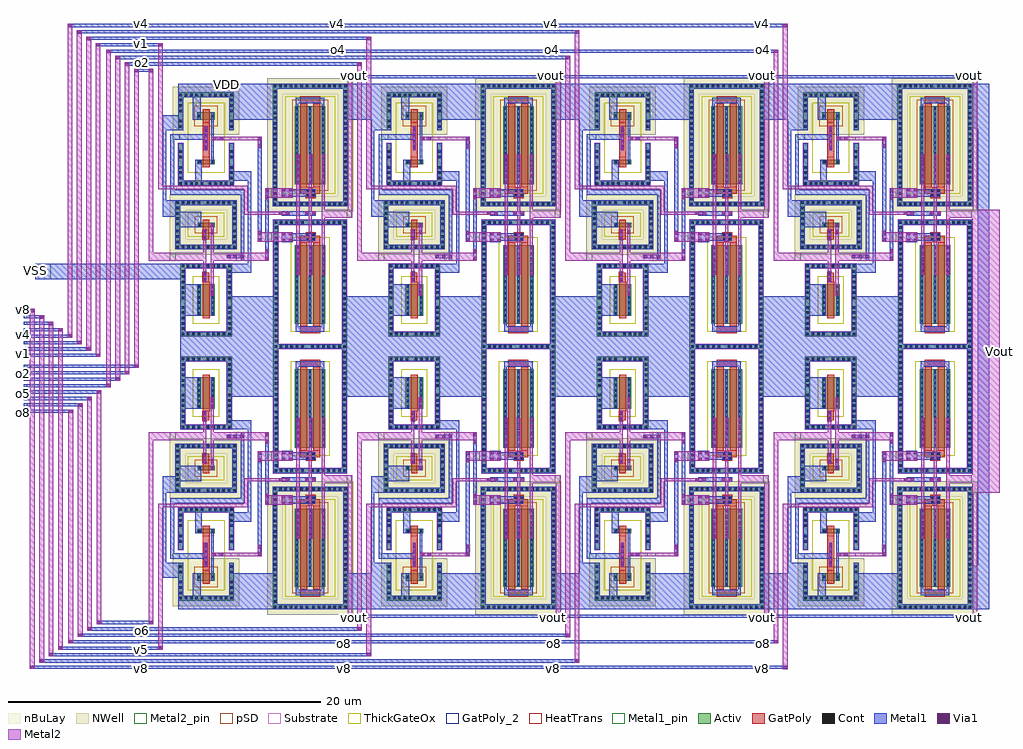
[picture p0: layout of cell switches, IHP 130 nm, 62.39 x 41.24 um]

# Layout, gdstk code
from math import pi, radians
import gdstk
lib = gdstk.Library(unit=1e-6, precision=1e-09)
def R(c, l, rs):  # rectangles x0, y0, x1, y1
    for r in rs: c.add(gdstk.rectangle(r[:2], r[2:], *l))
def A(c, l, x, y, w, h, nx, ny, dx, dy):  # array of equal rectangles
    R(c, l, [(x+i*dx, y+j*dy, x+i*dx+w, y+j*dy+h) for i in range(nx) for j in range(ny)])
def P(c, l, *ps):  # polygons
    for p in ps: c.add(gdstk.Polygon(p, *l))
Activ = (1, 0)
GatPoly = (5, 0)
GatPoly_2 = (5, 2)
Cont = (6, 0)
Metal1 = (8, 0)
Metal1_pin = (8, 2)
Metal2 = (10, 0)
Metal2_pin = (10, 2)
pSD = (14, 0)
Via1 = (19, 0)
NWell = (31, 0)
nBuLay = (32, 0)
Substrate = (40, 0)
ThickGateOx = (44, 0)
HeatTrans = (51, 0)

pmoshv_4 = lib.new_cell('pmosHV$4')
R(pmoshv_4, Activ, [(-1.42,-1.12,-1.12,1.42), (2.2,-1.12,2.5,1.42), (0,0,0.3,0.3), (0,0,1.08,0.3), (0.78,0,1.08,0.3), (-1.42,1.42,2.5,1.72)])
P(pmoshv_4, Activ, [(-1.42,-1.42),(-1.42,1.42),(-1.12,1.42),(-1.12,-1.12),(2.2,-1.12),(2.2,1.42),(-1.42,1.42),(-1.42,1.72),(2.5,1.72),(2.5,-1.42)])
R(pmoshv_4, GatPoly, [(0.34,-0.18,0.74,0.48)])
R(pmoshv_4, GatPoly_2, [(0.34,-0.18,0.74,0.48)])
A(pmoshv_4, Cont, -1.35, -1.35, 0.16, 0.16, 5, 2, 0.34, 2.84)
A(pmoshv_4, Cont, 0.57, -1.35, 0.16, 0.16, 6, 2, 0.34, 2.84)
A(pmoshv_4, Cont, -1.35, -1.01, 0.16, 0.16, 1, 3, 0, 0.34)
A(pmoshv_4, Cont, 2.27, -1.01, 0.16, 0.16, 1, 3, 0, 0.34)
A(pmoshv_4, Cont, -1.35, 0.13, 0.16, 0.16, 1, 4, 0, 0.34)
A(pmoshv_4, Cont, 2.27, 0.13, 0.16, 0.16, 1, 4, 0, 0.34)
R(pmoshv_4, Cont, [(0.07,0.07,0.23,0.23), (0.85,0.07,1.01,0.23)])
R(pmoshv_4, Metal1, [(-1.42,-1.42,2.5,-1.12), (-1.42,-1.12,-1.12,1.42), (2.2,-1.12,2.5,1.42), (0.07,0,0.23,0.3), (0.85,0,1.01,0.3), (-1.42,1.42,2.5,1.72)])
R(pmoshv_4, Metal1_pin, [(0.07,0,0.23,0.3), (0.85,0,1.01,0.3)])
R(pmoshv_4, pSD, [(-0.18,-0.4,1.26,0.7)])
R(pmoshv_4, NWell, [(-1.77,-1.77,2.85,2.07), (-0.62,-0.62,1.7,0.92)])
R(pmoshv_4, nBuLay, [(-1.77,-0.77,-0.77,1.07), (1.85,-0.77,2.85,1.07), (-1.77,1.07,2.85,2.07)])
P(pmoshv_4, nBuLay, [(-1.77,-1.77),(-1.77,1.07),(-0.77,1.07),(-0.77,-0.77),(1.85,-0.77),(1.85,1.07),(-1.77,1.07),(-1.77,2.07),(2.85,2.07),(2.85,-1.77)])
R(pmoshv_4, Substrate, [(0.78,0,1.08,0.3)])
R(pmoshv_4, ThickGateOx, [(-0.62,-0.62,1.7,0.92)])
R(pmoshv_4, HeatTrans, [(0.34,-0.18,0.74,0.48)])
pmoshv_4.add(gdstk.Label('pmosHV', (0.54,0.15), layer=63, texttype=0))
pmoshv_4.add(gdstk.Label('well', (0.54,-1.27), layer=63, texttype=0))
pmoshv_4.add(gdstk.Label('pmos', (0.54,0.15), layer=51, texttype=0))

nmoshv_3 = lib.new_cell('nmosHV$3')
R(nmoshv_3, Activ, [(-1.07,-1.02,-0.77,3.02), (1.9,-1.02,2.2,3.02), (0,0,0.3,0.3), (0,0,1.13,2), (0.83,0,1.13,0.3), (-1.07,3.02,2.2,3.32)])
P(nmoshv_3, Activ, [(-1.07,-1.32),(-1.07,3.02),(-0.77,3.02),(-0.77,-1.02),(1.9,-1.02),(1.9,3.02),(-1.07,3.02),(-1.07,3.32),(2.2,3.32),(2.2,-1.32)])
R(nmoshv_3, GatPoly, [(0.34,-0.18,0.79,2.18)])
R(nmoshv_3, GatPoly_2, [(0.34,-0.18,0.79,2.18)])
A(nmoshv_3, Cont, -1, -1.25, 0.16, 0.16, 4, 2, 0.34, 4.34)
A(nmoshv_3, Cont, 0.61, -1.25, 0.16, 0.16, 5, 2, 0.34, 4.34)
A(nmoshv_3, Cont, -1, -0.91, 0.16, 0.16, 1, 5, 0, 0.34)
A(nmoshv_3, Cont, 1.97, -0.91, 0.16, 0.16, 1, 5, 0, 0.34)
A(nmoshv_3, Cont, 0.07, 0.07, 0.16, 0.16, 1, 6, 0, 0.34)
A(nmoshv_3, Cont, 0.9, 0.07, 0.16, 0.16, 1, 6, 0, 0.34)
A(nmoshv_3, Cont, -1, 1.05, 0.16, 0.16, 1, 6, 0, 0.34)
A(nmoshv_3, Cont, 1.97, 1.05, 0.16, 0.16, 1, 6, 0, 0.34)
R(nmoshv_3, Metal1, [(-1.07,-1.32,2.2,-1.02), (-1.07,-1.02,-0.77,3.02), (1.9,-1.02,2.2,3.02), (0.07,0,0.23,2), (0.9,0,1.06,2), (-1.07,3.02,2.2,3.32)])
R(nmoshv_3, Metal1_pin, [(0.07,0,0.23,2), (0.9,0,1.06,2)])
R(nmoshv_3, pSD, [(-1.1,-0.99,-0.74,2.99), (1.87,-0.99,2.23,2.99), (-1.1,2.99,2.23,3.35)])
P(nmoshv_3, pSD, [(-1.1,-1.35),(-1.1,2.99),(-0.74,2.99),(-0.74,-0.99),(1.87,-0.99),(1.87,2.99),(-1.1,2.99),(-1.1,3.35),(2.23,3.35),(2.23,-1.35)])
R(nmoshv_3, Substrate, [(-1.1,-0.99,-0.74,2.99), (1.87,-0.99,2.23,2.99), (-1.1,2.99,2.23,3.35)])
P(nmoshv_3, Substrate, [(-1.1,-1.35),(-1.1,2.99),(-0.74,2.99),(-0.74,-0.99),(1.87,-0.99),(1.87,2.99),(-1.1,2.99),(-1.1,3.35),(2.23,3.35),(2.23,-1.35)])
R(nmoshv_3, ThickGateOx, [(-0.27,-0.52,1.4,2.52)])
R(nmoshv_3, HeatTrans, [(0.34,-0.18,0.79,2.18)])
nmoshv_3.add(gdstk.Label('nmosHV', (0.565,1), layer=63, texttype=0))
nmoshv_3.add(gdstk.Label('sub!', (0.565,-1.17), layer=63, texttype=0))
nmoshv_3.add(gdstk.Label('nmosHV', (0.565,1), layer=51, texttype=0))

via_stack_6 = lib.new_cell('via_stack$6')
R(via_stack_6, GatPoly, [(-0.15,-0.32,0.15,0.32)])
R(via_stack_6, Cont, [(-0.08,-0.25,0.08,-0.09), (-0.08,0.09,0.08,0.25)])
R(via_stack_6, Metal1, [(-0.105,-0.35,0.105,0.35)])
R(via_stack_6, Metal2, [(-0.1,-0.35,0.1,0.35)])
R(via_stack_6, Via1, [(-0.095,-0.3,0.095,-0.11), (-0.095,0.11,0.095,0.3)])

via_stack_7 = lib.new_cell('via_stack$7')
R(via_stack_7, Metal1, [(-0.105,-0.35,0.105,0.35)])
R(via_stack_7, Metal2, [(-0.1,-0.35,0.1,0.35)])
R(via_stack_7, Via1, [(-0.095,-0.3,0.095,-0.11), (-0.095,0.11,0.095,0.3)])

inverter_shifter = lib.new_cell('inverter_shifter')
R(inverter_shifter, GatPoly, [(-0.21,-1.855,0.19,-1.185), (-0.21,0.945,0.19,1.615)])
R(inverter_shifter, Metal1, [(-1.645,-3.935,-0.345,-1.935), (-1.97,1.715,-0.32,2.695)])
R(inverter_shifter, Metal1_pin, [(-0.49,-5.255,0.495,-4.955), (-0.4,3.135,0.78,3.435)])
R(inverter_shifter, Metal2, [(0.285,-2.345,0.485,1.415), (-0.2,-1.545,0,1.27), (-2.32,-0.415,0,0.095), (0.285,-0.415,2.3,0.095)])
R(inverter_shifter, Metal2_pin, [(-2.32,-0.415,-1.935,0.095), (1.91,-0.415,2.3,0.095)])
inverter_shifter.add(gdstk.Reference(pmoshv_4, (-0.55,1.715)))
inverter_shifter.add(gdstk.Reference(nmoshv_3, (-0.575,-3.935)))
inverter_shifter.add(gdstk.Reference(via_stack_6, (-0.1,1.225)))
inverter_shifter.add(gdstk.Reference(via_stack_7, (0.385,1.62)))
inverter_shifter.add(gdstk.Reference(via_stack_6, (-0.1,-1.465)))
inverter_shifter.add(gdstk.Reference(via_stack_7, (0.385,-2.31)))
inverter_shifter.add(gdstk.Label('VSS', (0.003,-5.255), layer=8, texttype=2))
inverter_shifter.add(gdstk.Label('VDD', (0.19,3.435), layer=8, texttype=2))
inverter_shifter.add(gdstk.Label('en', (-2.32,-0.16), layer=10, texttype=2))
inverter_shifter.add(gdstk.Label('en_n', (2.3,-0.16), layer=10, texttype=2))

via_stack_4 = lib.new_cell('via_stack$4')
R(via_stack_4, Metal1, [(-0.555,-0.105,0.555,0.105)])
R(via_stack_4, Metal2, [(-0.555,-0.1,0.555,0.1)])
A(via_stack_4, Via1, -0.505, -0.095, 0.19, 0.19, 3, 1, 0.41, 0)

pmoshv_2 = lib.new_cell('pmosHV$2')
R(pmoshv_2, Activ, [(0,0,0.3,0.3), (0,0,1.13,0.48), (0.83,0,1.13,0.3)])
R(pmoshv_2, GatPoly, [(0.34,-0.18,0.79,0.66)])
R(pmoshv_2, GatPoly_2, [(0.34,-0.18,0.79,0.66)])
R(pmoshv_2, Cont, [(0.07,0.16,0.23,0.32), (0.9,0.16,1.06,0.32)])
R(pmoshv_2, Metal1, [(0.07,0,0.23,0.48), (0.9,0,1.06,0.48)])
R(pmoshv_2, Metal1_pin, [(0.07,0,0.23,0.48), (0.9,0,1.06,0.48)])
R(pmoshv_2, pSD, [(-0.18,-0.4,1.31,0.88)])
R(pmoshv_2, NWell, [(-0.62,-0.62,1.75,1.1)])
R(pmoshv_2, Substrate, [(0.83,0,1.13,0.3)])
R(pmoshv_2, ThickGateOx, [(-0.62,-0.62,1.75,1.1)])
R(pmoshv_2, HeatTrans, [(0.34,-0.18,0.79,0.66)])
pmoshv_2.add(gdstk.Label('pmosHV', (0.565,0.24), layer=63, texttype=0))
pmoshv_2.add(gdstk.Label('pmos', (0.565,0.24), layer=51, texttype=0))

nmoshv_2 = lib.new_cell('nmosHV$2')
R(nmoshv_2, Activ, [(0,0,0.3,0.3), (0,0,1.13,0.3), (0.83,0,1.13,0.3)])
R(nmoshv_2, GatPoly, [(0.34,-0.18,0.79,0.48)])
R(nmoshv_2, GatPoly_2, [(0.34,-0.18,0.79,0.48)])
R(nmoshv_2, Cont, [(0.07,0.07,0.23,0.23), (0.9,0.07,1.06,0.23)])
R(nmoshv_2, Metal1, [(0.07,0,0.23,0.3), (0.9,0,1.06,0.3)])
R(nmoshv_2, Metal1_pin, [(0.07,0,0.23,0.3), (0.9,0,1.06,0.3)])
R(nmoshv_2, ThickGateOx, [(-0.27,-0.52,1.4,0.82)])
R(nmoshv_2, HeatTrans, [(0.34,-0.18,0.79,0.48)])
nmoshv_2.add(gdstk.Label('nmosHV', (0.565,0.15), layer=63, texttype=0))
nmoshv_2.add(gdstk.Label('nmosHV', (0.565,0.15), layer=51, texttype=0))

via_stack_9 = lib.new_cell('via_stack$9')
R(via_stack_9, GatPoly, [(-0.15,-0.66,0.15,0.66)])
A(via_stack_9, Cont, -0.08, -0.59, 0.16, 0.16, 1, 4, 0, 0.34)
R(via_stack_9, Metal1, [(-0.105,-0.76,0.105,0.76)])
R(via_stack_9, Metal2, [(-0.1,-0.76,0.1,0.76)])
A(via_stack_9, Via1, -0.095, -0.71, 0.19, 0.19, 1, 4, 0, 0.41)

via_stack_2 = lib.new_cell('via_stack$2')
R(via_stack_2, Metal1, [(-0.35,-0.105,0.35,0.105)])
R(via_stack_2, Metal2, [(-0.35,-0.1,0.35,0.1)])
R(via_stack_2, Via1, [(-0.3,-0.095,-0.11,0.095), (0.11,-0.095,0.3,0.095)])

inverter = lib.new_cell('inverter')
R(inverter, Activ, [(-0.29,0.38,3.25,0.68), (-0.29,0.68,0.01,3.08), (2.95,0.68,3.25,3.08), (-0.29,3.905,0.01,6.035), (2.95,3.905,3.25,6.035), (-0.29,6.035,3.25,6.335)])
R(inverter, GatPoly, [(1.26,2.215,1.71,4.41)])
A(inverter, Cont, -0.22, 0.45, 0.16, 0.16, 5, 2, 0.34, 5.655)
A(inverter, Cont, 1.66, 0.45, 0.16, 0.16, 5, 2, 0.34, 5.655)
A(inverter, Cont, -0.22, 0.79, 0.16, 0.16, 1, 3, 0, 0.34)
A(inverter, Cont, 3.02, 0.79, 0.16, 0.16, 1, 3, 0, 0.34)
A(inverter, Cont, -0.22, 5.085, 0.16, 0.16, 1, 3, 0, 0.34)
A(inverter, Cont, 3.02, 5.085, 0.16, 0.16, 1, 3, 0, 0.34)
R(inverter, Cont, [(-0.22,2.13,-0.06,2.29), (3.02,2.13,3.18,2.29), (-0.22,2.47,-0.06,2.63), (3.02,2.47,3.18,2.63), (-0.22,4.085,-0.06,4.245), (3.02,4.085,3.18,4.245), (-0.22,4.425,-0.06,4.585), (3.02,4.425,3.18,4.585)])
R(inverter, Metal1, [(-0.29,0.38,3.25,0.68), (0.79,0.45,1.22,2.035), (-0.29,0.68,0.01,3.08), (2.95,0.68,3.25,3.08), (1.82,1.735,1.98,5.07), (-0.64,3.325,1.555,3.66), (-0.29,3.905,0.01,6.035), (2.95,3.905,3.25,6.035), (0.635,4.59,1.15,6.185), (-0.29,6.035,3.25,6.335)])
R(inverter, Metal1_pin, [(0.75,0.38,2.275,0.68), (-0.64,3.325,-0.19,3.66), (0.675,6.035,2.125,6.335)])
R(inverter, Metal2, [(1.82,3.275,3.6,3.495)])
R(inverter, Metal2_pin, [(3.045,3.275,3.6,3.495)])
R(inverter, pSD, [(-0.32,0.35,3.28,0.71), (-0.32,0.71,0.04,3.115), (2.92,0.71,3.28,3.115)])
R(inverter, NWell, [(-0.64,3.625,3.6,6.685)])
R(inverter, nBuLay, [(-0.64,3.625,0.36,5.685), (2.6,3.625,3.6,5.685), (-0.64,5.685,3.6,6.685)])
R(inverter, Substrate, [(-0.32,0.35,3.28,0.71), (-0.32,0.71,0.04,3.115), (-0.32,0.71,0.04,3.115), (2.92,0.71,3.28,3.115), (2.92,0.71,3.28,3.115)])
R(inverter, ThickGateOx, [(0.3,1.215,2.67,4.56)])
inverter.add(gdstk.Reference(pmoshv_2, (0.92,4.59)))
inverter.add(gdstk.Reference(nmoshv_2, (0.92,1.735)))
inverter.add(gdstk.Reference(via_stack_9, (1.475,3.405)))
inverter.add(gdstk.Reference(via_stack_2, (2.225,3.385), rotation=pi))
inverter.add(gdstk.Label('VDD', (1.4,6.335), layer=8, texttype=2))
inverter.add(gdstk.Label('VSS', (1.513,0.38), layer=8, texttype=2))
inverter.add(gdstk.Label('A', (-0.64,3.493), layer=8, texttype=2))
inverter.add(gdstk.Label('sub!', (1.48,0.53), layer=63, texttype=0))
inverter.add(gdstk.Label('Y', (3.6,3.39), layer=10, texttype=2))

buffer_level_shifter = lib.new_cell('buffer_level_shifter')
R(buffer_level_shifter, Metal1, [(3.64,4.18,5.19,4.75), (4.975,4.18,5.19,10.65), (4.52,4.95,4.745,9.475), (-0.455,7.76,-0.24,14.23), (-0.315,7.76,0.635,8.8), (0.025,9.15,0.265,13.02), (0.265,9.15,4.615,9.475), (3.775,10.04,5.19,10.65), (-0.315,13.265,0.835,14.23)])
R(buffer_level_shifter, Metal1_pin, [(1.19,0.11,3.345,0.41), (1.4,15.395,3.34,15.695)])
R(buffer_level_shifter, Metal2_pin, [(-0.005,4.95,0.38,5.46), (4.225,4.95,4.615,5.46), (3.87,12.635,4.425,12.855)])
buffer_level_shifter.add(gdstk.Reference(inverter_shifter, (2.315,5.365)))
buffer_level_shifter.add(gdstk.Reference(via_stack_4, (4.185,5.2)))
buffer_level_shifter.add(gdstk.Reference(inverter, (0.825,9.36)))
buffer_level_shifter.add(gdstk.Label('VDD', (2.59,15.695), layer=8, texttype=2))
buffer_level_shifter.add(gdstk.Label('VSS', (2.605,0.11), layer=8, texttype=2))
buffer_level_shifter.add(gdstk.Label('en_n', (4.615,5.205), layer=10, texttype=2))
buffer_level_shifter.add(gdstk.Label('en_3', (4.425,12.785), layer=10, texttype=2))
buffer_level_shifter.add(gdstk.Label('en', (-0.005,4.95), layer=10, texttype=2))

nmoshv = lib.new_cell('nmosHV')
A(nmoshv, Activ, 0, 0, 0.3, 0.3, 3, 1, 0.83, 0)
R(nmoshv, Activ, [(-1.37,-1.32,-1.07,6.32), (3.03,-1.32,3.33,6.32), (0,0,1.96,5), (-1.37,6.32,3.33,6.62)])
P(nmoshv, Activ, [(-1.37,-1.62),(-1.37,6.32),(-1.07,6.32),(-1.07,-1.32),(3.03,-1.32),(3.03,6.32),(-1.37,6.32),(-1.37,6.62),(3.33,6.62),(3.33,-1.62)])
R(nmoshv, GatPoly, [(0.34,-0.18,0.79,5.18), (1.17,-0.18,1.62,5.18)])
R(nmoshv, GatPoly_2, [(0.34,-0.18,0.79,5.18)])
A(nmoshv, Cont, -1.3, -1.55, 0.16, 0.16, 6, 2, 0.34, 7.94)
A(nmoshv, Cont, 1.06, -1.55, 0.16, 0.16, 7, 2, 0.34, 7.94)
A(nmoshv, Cont, -1.3, -1.21, 0.16, 0.16, 1, 11, 0, 0.34)
A(nmoshv, Cont, 3.1, -1.21, 0.16, 0.16, 1, 11, 0, 0.34)
A(nmoshv, Cont, 0.07, 0.07, 0.16, 0.16, 3, 4, 0.83, 0.36)
A(nmoshv, Cont, 0.07, 1.515, 0.16, 0.16, 3, 3, 0.83, 0.36)
A(nmoshv, Cont, 0.07, 2.6, 0.16, 0.16, 3, 3, 0.83, 0.36)
A(nmoshv, Cont, -1.3, 2.65, 0.16, 0.16, 1, 11, 0, 0.34)
A(nmoshv, Cont, 3.1, 2.65, 0.16, 0.16, 1, 11, 0, 0.34)
A(nmoshv, Cont, 0.07, 3.685, 0.16, 0.16, 3, 3, 0.83, 0.36)
A(nmoshv, Cont, 0.07, 4.77, 0.16, 0.16, 3, 1, 0.83, 0)
A(nmoshv, Metal1, 0.07, 0, 0.16, 5, 3, 1, 0.83, 0)
R(nmoshv, Metal1, [(-1.37,-1.62,3.33,-1.32), (-1.37,-1.32,-1.07,6.32), (3.03,-1.32,3.33,6.32), (-1.37,6.32,3.33,6.62)])
R(nmoshv, Metal1_pin, [(0.07,0,0.23,5), (0.9,0,1.06,5)])
R(nmoshv, pSD, [(-1.4,-1.29,-1.04,6.29), (3,-1.29,3.36,6.29), (-1.4,6.29,3.36,6.65)])
P(nmoshv, pSD, [(-1.4,-1.65),(-1.4,6.29),(-1.04,6.29),(-1.04,-1.29),(3,-1.29),(3,6.29),(-1.4,6.29),(-1.4,6.65),(3.36,6.65),(3.36,-1.65)])
R(nmoshv, Substrate, [(-1.4,-1.29,-1.04,6.29), (3,-1.29,3.36,6.29), (-1.4,6.29,3.36,6.65)])
P(nmoshv, Substrate, [(-1.4,-1.65),(-1.4,6.29),(-1.04,6.29),(-1.04,-1.29),(3,-1.29),(3,6.29),(-1.4,6.29),(-1.4,6.65),(3.36,6.65),(3.36,-1.65)])
R(nmoshv, ThickGateOx, [(-0.27,-0.52,2.23,5.52)])
R(nmoshv, HeatTrans, [(0.34,-0.18,0.79,5.18), (1.17,-0.18,1.62,5.18)])
nmoshv.add(gdstk.Label('nmosHV', (0.565,2.5), layer=63, texttype=0))
nmoshv.add(gdstk.Label('sub!', (0.98,-1.47), layer=63, texttype=0))
nmoshv.add(gdstk.Label('nmosHV', (0.565,2.5), layer=51, texttype=0))
nmoshv.add(gdstk.Label('nmosHV', (1.395,2.5), layer=51, texttype=0))

pmoshv = lib.new_cell('pmosHV')
A(pmoshv, Activ, 0, 0, 0.3, 0.3, 3, 1, 0.83, 0)
R(pmoshv, Activ, [(-1.42,-1.12,-1.12,6.12), (3.08,-1.12,3.38,6.12), (0,0,1.96,5), (-1.42,6.12,3.38,6.42)])
P(pmoshv, Activ, [(-1.42,-1.42),(-1.42,6.12),(-1.12,6.12),(-1.12,-1.12),(3.08,-1.12),(3.08,6.12),(-1.42,6.12),(-1.42,6.42),(3.38,6.42),(3.38,-1.42)])
R(pmoshv, GatPoly, [(0.34,-0.18,0.79,5.18), (1.17,-0.18,1.62,5.18)])
R(pmoshv, GatPoly_2, [(0.34,-0.18,0.79,5.18)])
A(pmoshv, Cont, -1.35, -1.35, 0.16, 0.16, 7, 2, 0.34, 7.54)
A(pmoshv, Cont, 1.11, -1.35, 0.16, 0.16, 7, 2, 0.34, 7.54)
A(pmoshv, Cont, -1.35, -1.01, 0.16, 0.16, 1, 10, 0, 0.34)
A(pmoshv, Cont, 3.15, -1.01, 0.16, 0.16, 1, 10, 0, 0.34)
A(pmoshv, Cont, 0.07, 0.07, 0.16, 0.16, 3, 4, 0.83, 0.36)
A(pmoshv, Cont, 0.07, 1.515, 0.16, 0.16, 3, 3, 0.83, 0.36)
A(pmoshv, Cont, -1.35, 2.45, 0.16, 0.16, 1, 11, 0, 0.34)
A(pmoshv, Cont, 3.15, 2.45, 0.16, 0.16, 1, 11, 0, 0.34)
A(pmoshv, Cont, 0.07, 2.6, 0.16, 0.16, 3, 3, 0.83, 0.36)
A(pmoshv, Cont, 0.07, 3.685, 0.16, 0.16, 3, 3, 0.83, 0.36)
A(pmoshv, Cont, 0.07, 4.77, 0.16, 0.16, 3, 1, 0.83, 0)
A(pmoshv, Metal1, 0.07, 0, 0.16, 5, 3, 1, 0.83, 0)
R(pmoshv, Metal1, [(-1.42,-1.42,3.38,-1.12), (-1.42,-1.12,-1.12,6.12), (3.08,-1.12,3.38,6.12), (-1.42,6.12,3.38,6.42)])
R(pmoshv, Metal1_pin, [(0.07,0,0.23,5), (0.9,0,1.06,5)])
R(pmoshv, pSD, [(-0.18,-0.4,2.14,5.4)])
R(pmoshv, NWell, [(-1.77,-1.77,3.73,6.77), (-0.62,-0.62,2.58,5.62)])
R(pmoshv, nBuLay, [(-1.77,-0.77,-0.77,5.77), (2.73,-0.77,3.73,5.77), (-1.77,5.77,3.73,6.77)])
P(pmoshv, nBuLay, [(-1.77,-1.77),(-1.77,5.77),(-0.77,5.77),(-0.77,-0.77),(2.73,-0.77),(2.73,5.77),(-1.77,5.77),(-1.77,6.77),(3.73,6.77),(3.73,-1.77)])
R(pmoshv, Substrate, [(1.66,0,1.96,0.3)])
R(pmoshv, ThickGateOx, [(-0.62,-0.62,2.58,5.62)])
R(pmoshv, HeatTrans, [(0.34,-0.18,0.79,5.18), (1.17,-0.18,1.62,5.18)])
pmoshv.add(gdstk.Label('pmosHV', (0.565,2.5), layer=63, texttype=0))
pmoshv.add(gdstk.Label('well', (0.98,-1.27), layer=63, texttype=0))
pmoshv.add(gdstk.Label('pmos', (0.565,2.5), layer=51, texttype=0))
pmoshv.add(gdstk.Label('pmos', (1.395,2.5), layer=51, texttype=0))

via_stack_1 = lib.new_cell('via_stack$1')
R(via_stack_1, Metal1, [(-0.105,-0.965,0.105,0.965)])
R(via_stack_1, Metal2, [(-0.1,-0.965,0.1,0.965)])
A(via_stack_1, Via1, -0.095, -0.915, 0.19, 0.19, 1, 5, 0, 0.41)

via_stack_3 = lib.new_cell('via_stack$3')
R(via_stack_3, GatPoly, [(-0.32,-0.32,0.32,0.32)])
R(via_stack_3, Cont, [(-0.25,-0.25,-0.09,-0.09), (0.09,-0.25,0.25,-0.09), (-0.25,0.09,-0.09,0.25), (0.09,0.09,0.25,0.25)])
R(via_stack_3, Metal1, [(-0.3,-0.25,0.3,0.25)])

via_stack = lib.new_cell('via_stack')
R(via_stack, Metal1, [(-0.35,-0.31,0.35,0.31)])
R(via_stack, Metal2, [(-0.35,-0.305,0.35,0.305)])
R(via_stack, Via1, [(-0.3,-0.3,-0.11,-0.11), (0.11,-0.3,0.3,-0.11), (-0.3,0.11,-0.11,0.3), (0.11,0.11,0.3,0.3)])

switch = lib.new_cell('switch')
R(switch, GatPoly, [(-0.665,-5.385,0.615,-4.945), (-0.665,0.415,0.615,0.855), (-0.665,3.515,0.615,3.955), (-0.665,9.315,0.615,9.755)])
R(switch, Metal1, [(-0.935,-5.29,0.885,-4.945), (-0.935,-5.29,-0.775,-4.25), (0.725,-5.29,0.885,-4.25), (-1.52,0.51,0.3,1.01), (-1.83,2.13,0.345,2.42), (-1.52,3.325,0.3,3.825), (-0.935,8.62,-0.775,9.66), (0.725,8.62,0.885,9.66), (-0.935,9.315,0.885,9.66)])
R(switch, Metal1_pin, [(-0.825,-6.385,1.13,-6.085), (-1.83,2.13,-1.39,2.42), (-1.205,10.255,0.945,10.555)])
R(switch, Metal2, [(-0.9,-1.595,-0.7,4.485), (-0.11,-1.595,0.09,4.485), (0.705,-1.595,0.905,4.485), (-2.775,0.45,-1.78,1.06), (0.705,1.99,2.64,2.505), (-2.775,3.27,-1.78,3.88)])
R(switch, Metal2_pin, [(-2.775,0.45,-2.485,1.06), (2.31,1.99,2.64,2.505), (-2.775,3.27,-2.485,3.88)])
switch.add(gdstk.Reference(nmoshv, (-1.005,-4.765)))
switch.add(gdstk.Reference(pmoshv, (-1.005,4.135)))
switch.add(gdstk.Reference(via_stack_1, (-0.01,-0.73)))
switch.add(gdstk.Reference(via_stack_1, (-0.01,5.09)))
switch.add(gdstk.Reference(via_stack_1, (-0.8,-0.73)))
switch.add(gdstk.Reference(via_stack_1, (-0.8,5.09)))
switch.add(gdstk.Reference(via_stack_1, (0.805,-0.73)))
switch.add(gdstk.Reference(via_stack_1, (0.805,5.09)))
switch.add(gdstk.Reference(via_stack_2, (-0.005,2.3)))
switch.add(gdstk.Reference(via_stack_3, (0,3.575)))
switch.add(gdstk.Reference(via_stack_3, (0,0.76)))
switch.add(gdstk.Reference(via_stack, (-1.5,3.575)))
switch.add(gdstk.Reference(via_stack, (-1.5,0.755)))
switch.add(gdstk.Label('Vin', (-1.825,2.27), layer=8, texttype=2))
switch.add(gdstk.Label('VSS', (0.153,-6.385), layer=8, texttype=2))
switch.add(gdstk.Label('VDD', (-0.005,10.555), layer=8, texttype=2))
switch.add(gdstk.Label('Vout', (2.635,2.24), layer=10, texttype=2))
switch.add(gdstk.Label('en_n', (-2.775,3.575), layer=10, texttype=2))
switch.add(gdstk.Label('en_3', (-2.775,0.755), layer=10, texttype=2))

switch_level_shifter = lib.new_cell('switch_level_shifter')
R(switch_level_shifter, Metal1, [(-0.06,-0.775,2.91,0.33), (2.91,-0.775,6.18,2.585), (5.35,4.93,5.575,9.49), (4.865,6.06,5.13,12.775), (3.045,13.875,6.13,16.165), (-0.195,15.315,3.045,16.165)])
R(switch_level_shifter, Metal2, [(3.74,4.87,5.575,5.38), (4.92,6.06,5.725,6.67), (4.02,7.795,4.245,9.66), (4.02,7.795,6.63,7.995), (-0.97,9.44,4.245,9.66), (3.335,12.555,5.13,12.775)])
R(switch_level_shifter, Metal2_pin, [(10.565,7.6,10.895,8.115), (-0.97,9.44,-0.705,9.66)])
switch_level_shifter.add(gdstk.Reference(buffer_level_shifter, (-0.73,-0.08)))
switch_level_shifter.add(gdstk.Reference(switch, (8.255,5.61)))
switch_level_shifter.add(gdstk.Reference(via_stack_2, (6.57,7.895)))
switch_level_shifter.add(gdstk.Reference(via_stack_7, (4.985,12.405)))
switch_level_shifter.add(gdstk.Reference(via_stack_7, (4.985,6.41)))
switch_level_shifter.add(gdstk.Reference(via_stack_7, (5.465,5.23)))
switch_level_shifter.add(gdstk.Reference(via_stack_7, (5.46,9.14)))
switch_level_shifter.add(gdstk.Label('VSS', (1.33,0.03), layer=8, texttype=2))
switch_level_shifter.add(gdstk.Label('VDD', (8.635,16.165), layer=8, texttype=2))
switch_level_shifter.add(gdstk.Label('Vout', (10.895,7.82), layer=10, texttype=2))
switch_level_shifter.add(gdstk.Label('Vin', (-0.97,9.55), layer=10, texttype=2))
switch_level_shifter.add(gdstk.Label('en', (-0.735,5.055), layer=10, texttype=2))

via_stack_8 = lib.new_cell('via_stack$8')
R(via_stack_8, Metal1, [(-0.145,-0.105,0.145,0.105)])
R(via_stack_8, Metal2, [(-0.145,-0.1,0.145,0.1)])
R(via_stack_8, Via1, [(-0.095,-0.095,0.095,0.095)])

switches = lib.new_cell('switches')
A(switches, Metal1, 11.775, -15.87, 2.785, 2.29, 3, 2, 13.315, 31.29)
R(switches, Metal1, [(-8.235,-19.695,40.2,-19.495), (-7.635,-19.285,26.885,-19.085), (-7.035,-18.875,13.57,-18.675), (-6.435,-18.465,0.26,-18.265), (-5.775,-18.055,39.6,-17.855), (-5.175,-17.645,26.285,-17.445), (-4.575,-17.235,12.97,-17.035), (-3.975,-16.825,-0.345,-16.625), (12.07,-16.415,52.31,-16.215), (51.715,-15.87,53.07,-13.09), (52.365,-15.87,53.07,17.71), (-8.65,-3.32,-5.475,-3.12), (-8.65,-2.91,-4.875,-2.71), (-8.65,-2.5,-4.275,-2.3), (11.795,-2.29,14.995,1.07), (25.035,-2.29,28.235,1.07), (38.385,-2.29,41.585,1.07), (-8.65,-2.09,-3.675,-1.89), (-8.65,-1.68,-3.075,-1.48), (-8.65,-1.27,-2.475,-1.07), (-8.65,-0.86,-1.875,-0.66), (-8.65,-0.45,-1.275,-0.25), (-8.65,0.25,-3.735,0.45), (-8.65,0.66,-4.335,0.86), (11.795,0.77,14.995,4.13), (25.035,0.77,28.235,4.13), (38.385,0.77,41.585,4.13), (-8.65,1.07,-4.935,1.27), (-8.65,1.48,-5.535,1.68), (-8.65,1.89,-6.135,2.09), (-8.65,2.3,-6.735,2.5), (-8.65,2.71,-7.335,2.91), (-8.65,3.12,-7.935,3.32), (-7.91,5.23,1.685,6.215), (51.715,14.88,53.07,17.71), (12.07,18.06,52.31,18.26), (-1.575,18.47,-0.345,18.67), (-2.175,18.88,12.97,19.08), (-2.775,19.29,26.285,19.49), (-3.375,19.7,39.6,19.9), (-4.035,20.11,0.26,20.31), (-4.635,20.52,13.57,20.72), (-5.235,20.93,26.885,21.13), (-5.835,21.34,40.2,21.54)])
A(switches, Metal1_pin, -8.65, -3.32, 0.25, 0.2, 1, 8, 0, 0.41)
A(switches, Metal1_pin, -8.65, 0.25, 0.25, 0.2, 1, 8, 0, 0.41)
R(switches, Metal1_pin, [(-7.91,5.23,-6.9,6.215)])
A(switches, Metal2, 12.07, -16.42, 0.3, 9.115, 4, 2, 13.315, 25.565)
A(switches, Metal2, 13.27, -9.365, 0.7, 0.22, 3, 2, 13.315, 20.35)
A(switches, Metal2, 12.67, -5.085, 1.94, 0.51, 3, 2, 13.315, 11.5)
R(switches, Metal2, [(39.9,-19.7,40.2,-9.145), (-8.235,-19.695,-7.935,3.32), (26.585,-19.29,26.885,-9.145), (-7.635,-19.285,-7.335,2.91), (13.27,-18.88,13.57,-9.145), (-7.035,-18.875,-6.735,2.5), (-0.04,-18.47,0.26,-9.145), (-6.435,-18.465,-6.135,2.09), (39.3,-18.06,39.6,-4.575), (-5.775,-18.055,-5.475,-3.12), (25.985,-17.65,26.285,-4.575), (-5.175,-17.645,-4.875,-2.71), (12.67,-17.24,12.97,-4.575), (-4.575,-17.235,-4.275,-2.3), (-0.64,-16.83,-0.34,-4.575), (-3.975,-16.825,-3.675,-1.89), (-0.04,-9.365,0.66,-9.145), (51.995,-8.43,53.74,9.66), (-0.64,-5.085,1.3,-4.575), (-3.375,-1.68,-3.075,19.9), (-2.775,-1.27,-2.475,19.49), (-2.175,-0.86,-1.875,19.08), (-1.575,-0.45,-1.275,18.67), (-4.035,0.25,-3.735,20.31), (-4.635,0.66,-4.335,20.72), (-5.235,1.07,-4.935,21.13), (-5.835,1.48,-5.535,21.54), (-0.64,6.415,1.3,6.925), (-0.64,6.415,-0.34,18.67), (12.67,6.415,12.97,19.08), (25.985,6.415,26.285,19.49), (39.3,6.415,39.6,19.9), (-0.04,10.985,0.66,11.205), (-0.04,10.985,0.26,20.31), (13.27,10.985,13.57,20.72), (26.585,10.985,26.885,21.13), (39.9,10.985,40.2,21.54)])
R(switches, Metal2_pin, [(51.995,-8.43,53.74,9.66)])
switches.add(gdstk.Reference(switch_level_shifter, (1.445,1.545)))
switches.add(gdstk.Reference(switch_level_shifter, (14.755,1.545)))
switches.add(gdstk.Reference(switch_level_shifter, (28.07,1.545)))
switches.add(gdstk.Reference(switch_level_shifter, (41.385,1.545)))
switches.add(gdstk.Reference(via_stack_8, (-0.49,18.57)))
switches.add(gdstk.Reference(via_stack_8, (0.11,20.205)))
switches.add(gdstk.Reference(via_stack_8, (12.22,18.155)))
switches.add(gdstk.Reference(via_stack_8, (25.535,18.155)))
switches.add(gdstk.Reference(via_stack_8, (38.85,18.155)))
switches.add(gdstk.Reference(via_stack_8, (52.165,18.155)))
switches.add(gdstk.Reference(via_stack_8, (12.82,18.975)))
switches.add(gdstk.Reference(via_stack_8, (13.42,20.615)))
switches.add(gdstk.Reference(via_stack_8, (26.135,19.385)))
switches.add(gdstk.Reference(via_stack_8, (26.735,21.025)))
switches.add(gdstk.Reference(via_stack_8, (39.45,19.795)))
switches.add(gdstk.Reference(via_stack_8, (-0.49,-16.725), x_reflection=True))
switches.add(gdstk.Reference(switch_level_shifter, (1.445,0.295), x_reflection=True))
switches.add(gdstk.Reference(switch_level_shifter, (14.755,0.295), x_reflection=True))
switches.add(gdstk.Reference(switch_level_shifter, (28.07,0.295), x_reflection=True))
switches.add(gdstk.Reference(switch_level_shifter, (41.385,0.295), x_reflection=True))
switches.add(gdstk.Reference(via_stack_8, (0.11,-18.36), x_reflection=True))
switches.add(gdstk.Reference(via_stack_8, (12.22,-16.31), x_reflection=True))
switches.add(gdstk.Reference(via_stack_8, (25.535,-16.31), x_reflection=True))
switches.add(gdstk.Reference(via_stack_8, (38.85,-16.31), x_reflection=True))
switches.add(gdstk.Reference(via_stack_8, (52.165,-16.31), x_reflection=True))
switches.add(gdstk.Reference(via_stack_8, (12.82,-17.13), x_reflection=True))
switches.add(gdstk.Reference(via_stack_8, (13.42,-18.77), x_reflection=True))
switches.add(gdstk.Reference(via_stack_8, (26.135,-17.54), x_reflection=True))
switches.add(gdstk.Reference(via_stack_8, (26.735,-19.18), x_reflection=True))
switches.add(gdstk.Reference(via_stack_8, (39.45,-17.95), x_reflection=True))
switches.add(gdstk.Reference(via_stack_8, (-1.43,18.565)))
switches.add(gdstk.Reference(via_stack_8, (-2.03,18.975)))
switches.add(gdstk.Reference(via_stack_8, (-2.63,19.385)))
switches.add(gdstk.Reference(via_stack_8, (-3.23,19.795)))
switches.add(gdstk.Reference(via_stack_8, (-3.89,20.205)))
switches.add(gdstk.Reference(via_stack_8, (-4.49,20.615)))
switches.add(gdstk.Reference(via_stack_8, (-5.09,21.025)))
switches.add(gdstk.Reference(via_stack_8, (-5.69,21.435)))
switches.add(gdstk.Reference(via_stack_8, (-3.83,-16.72), x_reflection=True))
switches.add(gdstk.Reference(via_stack_8, (-4.43,-17.13), x_reflection=True))
switches.add(gdstk.Reference(via_stack_8, (-5.03,-17.54), x_reflection=True))
switches.add(gdstk.Reference(via_stack_8, (-5.63,-17.95), x_reflection=True))
switches.add(gdstk.Reference(via_stack_8, (-6.29,-18.36), x_reflection=True))
switches.add(gdstk.Reference(via_stack_8, (-6.89,-18.77), x_reflection=True))
switches.add(gdstk.Reference(via_stack_8, (-7.49,-19.18), x_reflection=True))
switches.add(gdstk.Reference(via_stack_8, (-8.09,-19.59), x_reflection=True))
switches.add(gdstk.Reference(via_stack_8, (-3.88,0.355)))
switches.add(gdstk.Reference(via_stack_8, (-4.48,0.765)))
switches.add(gdstk.Reference(via_stack_8, (-5.08,1.175)))
switches.add(gdstk.Reference(via_stack_8, (-5.68,1.585)))
switches.add(gdstk.Reference(via_stack_8, (-6.28,1.985)))
switches.add(gdstk.Reference(via_stack_8, (-6.88,2.395)))
switches.add(gdstk.Reference(via_stack_8, (-7.48,2.805)))
switches.add(gdstk.Reference(via_stack_8, (-8.08,3.215)))
switches.add(gdstk.Reference(via_stack_8, (-3.82,-1.995), x_reflection=True))
switches.add(gdstk.Reference(via_stack_8, (-4.42,-2.405), x_reflection=True))
switches.add(gdstk.Reference(via_stack_8, (-5.02,-2.815), x_reflection=True))
switches.add(gdstk.Reference(via_stack_8, (-5.62,-3.225), x_reflection=True))
switches.add(gdstk.Reference(via_stack_8, (-1.43,-0.345), x_reflection=True))
switches.add(gdstk.Reference(via_stack_8, (-2.03,-0.755), x_reflection=True))
switches.add(gdstk.Reference(via_stack_8, (-2.63,-1.165), x_reflection=True))
switches.add(gdstk.Reference(via_stack_8, (-3.23,-1.575), x_reflection=True))
switches.add(gdstk.Reference(via_stack_8, (40.05,21.435)))
switches.add(gdstk.Reference(via_stack_8, (40.05,-19.59)))
switches.add(gdstk.Label('v4', (-1.08,21.54), layer=8, texttype=0))
switches.add(gdstk.Label('v3', (-1.075,21.13), layer=8, texttype=0))
switches.add(gdstk.Label('v2', (-1.075,20.72), layer=8, texttype=0))
switches.add(gdstk.Label('v1', (-1.085,20.31), layer=8, texttype=0))
switches.add(gdstk.Label('o4', (-1.03,19.9), layer=8, texttype=0))
switches.add(gdstk.Label('o3', (-1.02,19.49), layer=8, texttype=0))
switches.add(gdstk.Label('o2', (-1.035,19.08), layer=8, texttype=0))
switches.add(gdstk.Label('o1', (-1.035,18.67), layer=8, texttype=0))
switches.add(gdstk.Label('vout', (12.485,18.255), layer=8, texttype=0))
switches.add(gdstk.Label('v4', (11.445,21.54), layer=8, texttype=0))
switches.add(gdstk.Label('v3', (11.45,21.13), layer=8, texttype=0))
switches.add(gdstk.Label('v2', (11.45,20.72), layer=8, texttype=0))
switches.add(gdstk.Label('o4', (11.495,19.9), layer=8, texttype=0))
switches.add(gdstk.Label('o3', (11.505,19.49), layer=8, texttype=0))
switches.add(gdstk.Label('o2', (11.49,19.08), layer=8, texttype=0))
switches.add(gdstk.Label('v8', (-1.08,-19.695), layer=8, texttype=0))
switches.add(gdstk.Label('vout', (25.08,18.26), layer=8, texttype=0))
switches.add(gdstk.Label('v4', (25.09,21.54), layer=8, texttype=0))
switches.add(gdstk.Label('v3', (25.095,21.13), layer=8, texttype=0))
switches.add(gdstk.Label('v7', (-1.075,-19.285), layer=8, texttype=0))
switches.add(gdstk.Label('v6', (-1.075,-18.875), layer=8, texttype=0))
switches.add(gdstk.Label('o4', (25.14,19.9), layer=8, texttype=0))
switches.add(gdstk.Label('o3', (25.15,19.49), layer=8, texttype=0))
switches.add(gdstk.Label('v5', (-1.085,-18.465), layer=8, texttype=0))
switches.add(gdstk.Label('o8', (-1.03,-18.055), layer=8, texttype=0))
switches.add(gdstk.Label('vout', (38.595,18.26), layer=8, texttype=0))
switches.add(gdstk.Label('v4', (38.605,21.54), layer=8, texttype=0))
switches.add(gdstk.Label('o7', (-1.02,-17.645), layer=8, texttype=0))
switches.add(gdstk.Label('o6', (-1.035,-17.235), layer=8, texttype=0))
switches.add(gdstk.Label('o5', (-1.035,-16.825), layer=8, texttype=0))
switches.add(gdstk.Label('o4', (38.655,19.9), layer=8, texttype=0))
switches.add(gdstk.Label('vout', (25.235,-16.415), layer=8, texttype=0))
switches.add(gdstk.Label('vout', (12.515,-16.41), layer=8, texttype=0))
switches.add(gdstk.Label('v8', (11.85,-19.695), layer=8, texttype=0))
switches.add(gdstk.Label('vout', (51.815,18.26), layer=8, texttype=0))
switches.add(gdstk.Label('v7', (11.855,-19.285), layer=8, texttype=0))
switches.add(gdstk.Label('v6', (11.855,-18.875), layer=8, texttype=0))
switches.add(gdstk.Label('v8', (25.245,-19.695), layer=8, texttype=0))
switches.add(gdstk.Label('o8', (11.9,-18.055), layer=8, texttype=0))
switches.add(gdstk.Label('vout', (38.575,-16.415), layer=8, texttype=0))
switches.add(gdstk.Label('o7', (11.91,-17.645), layer=8, texttype=0))
switches.add(gdstk.Label('o6', (11.895,-17.235), layer=8, texttype=0))
switches.add(gdstk.Label('v7', (25.25,-19.285), layer=8, texttype=0))
switches.add(gdstk.Label('v8', (38.585,-19.695), layer=8, texttype=0))
switches.add(gdstk.Label('o8', (25.295,-18.055), layer=8, texttype=0))
switches.add(gdstk.Label('o7', (25.305,-17.645), layer=8, texttype=0))
switches.add(gdstk.Label('vout', (51.815,-16.415), layer=8, texttype=0))
switches.add(gdstk.Label('o8', (38.635,-18.055), layer=8, texttype=0))
switches.add(gdstk.Label('v4', (-8.645,1.675), layer=8, texttype=2))
switches.add(gdstk.Label('v3', (-8.64,1.265), layer=8, texttype=2))
switches.add(gdstk.Label('v2', (-8.64,0.855), layer=8, texttype=2))
switches.add(gdstk.Label('v1', (-8.65,0.445), layer=8, texttype=2))
switches.add(gdstk.Label('v8', (-8.645,3.31), layer=8, texttype=2))
switches.add(gdstk.Label('v7', (-8.64,2.9), layer=8, texttype=2))
switches.add(gdstk.Label('v6', (-8.64,2.49), layer=8, texttype=2))
switches.add(gdstk.Label('v5', (-8.65,2.08), layer=8, texttype=2))
switches.add(gdstk.Label('o8', (-8.655,-3.285), layer=8, texttype=2))
switches.add(gdstk.Label('o7', (-8.645,-2.875), layer=8, texttype=2))
switches.add(gdstk.Label('o6', (-8.66,-2.465), layer=8, texttype=2))
switches.add(gdstk.Label('o5', (-8.66,-2.055), layer=8, texttype=2))
switches.add(gdstk.Label('o4', (-8.655,-1.655), layer=8, texttype=2))
switches.add(gdstk.Label('o3', (-8.645,-1.245), layer=8, texttype=2))
switches.add(gdstk.Label('o2', (-8.66,-0.835), layer=8, texttype=2))
switches.add(gdstk.Label('o1', (-8.66,-0.425), layer=8, texttype=2))
switches.add(gdstk.Label('VDD', (4.305,17.67), layer=8, texttype=2))
switches.add(gdstk.Label('VSS', (-7.9,5.78), layer=8, texttype=2))
switches.add(gdstk.Label('Vout', (53.74,0.615), layer=10, texttype=2))

lib.write_gds('switches.gds')
